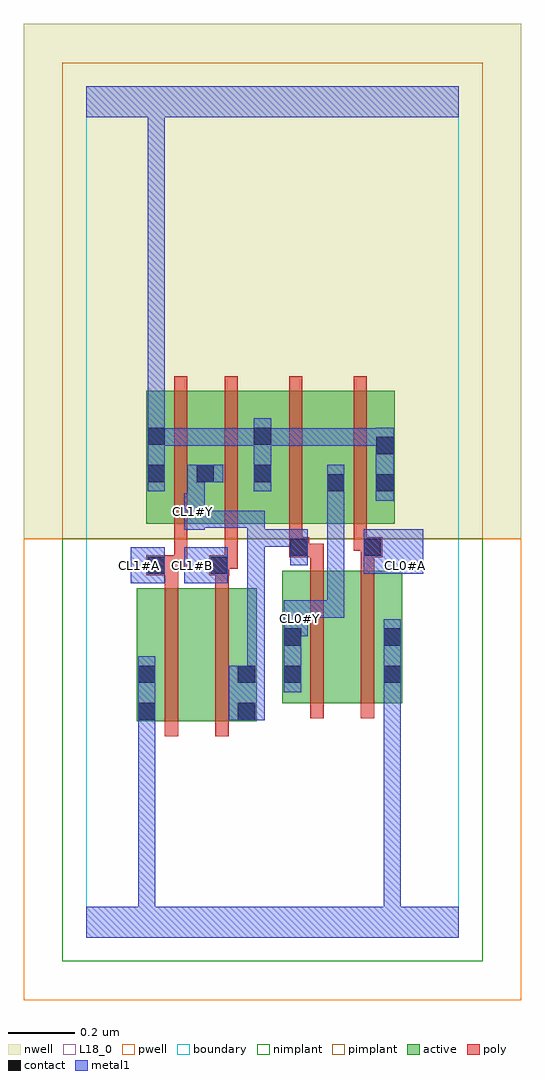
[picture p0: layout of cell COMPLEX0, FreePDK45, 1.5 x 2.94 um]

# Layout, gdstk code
import gdstk
lib = gdstk.Library(unit=1e-6, precision=1e-09)
def R(c, l, rs):  # rectangles x0, y0, x1, y1
    for r in rs: c.add(gdstk.rectangle(r[:2], r[2:], *l))
def A(c, l, x, y, w, h, nx, ny, dx, dy):  # array of equal rectangles
    R(c, l, [(x+i*dx, y+j*dy, x+i*dx+w, y+j*dy+h) for i in range(nx) for j in range(ny)])
active = (1, 0)
pwell = (2, 0)
nwell = (3, 0)
nimplant = (4, 0)
pimplant = (5, 0)
poly = (9, 0)
contact = (10, 0)
metal1 = (11, 0)
L18_0 = (18, 0)
boundary = (235, 0)

complex0 = lib.new_cell('COMPLEX0')
R(complex0, active, [(0.152,0.65,0.212,1.05), (0.152,0.65,0.332,1.05), (0.332,0.65,0.512,1.05), (0.452,0.65,0.512,1.05), (0.59,0.704,0.65,1.104), (0.59,0.704,0.77,1.104), (0.77,0.704,0.95,1.104), (0.89,0.704,0.95,1.104), (0.18,1.244,0.24,1.644), (0.18,1.244,0.388,1.644), (0.328,1.244,0.56,1.644), (0.5,1.244,0.78,1.644), (0.72,1.244,0.928,1.644), (0.868,1.244,0.928,1.644), (0.328,1.338,0.388,1.644), (0.72,1.338,0.78,1.644), (0.5,1.366,0.56,1.644)])
R(complex0, pwell, [(-0.188,-0.188,1.308,1.2)])
R(complex0, nwell, [(-0.188,1.2,1.308,2.748)])
R(complex0, nimplant, [(-0.072,-0.072,1.192,1.2)])
R(complex0, pimplant, [(-0.072,1.2,1.192,2.632)])
A(complex0, poly, 0.416, 1.2, 0.04, 0.488, 3, 1, 0.194, 0)
R(complex0, poly, [(0.236,0.606,0.276,1.094), (0.388,0.606,0.428,1.094), (0.674,0.66,0.714,1.148), (0.826,0.66,0.866,1.148), (0.236,1.054,0.276,1.13), (0.388,1.054,0.428,1.13), (0.18,1.09,0.276,1.15), (0.37,1.09,0.43,1.15), (0.674,1.108,0.714,1.184), (0.826,1.108,0.866,1.184), (0.236,1.11,0.276,1.15), (0.236,1.11,0.304,1.15), (0.264,1.11,0.304,1.24), (0.39,1.11,0.43,1.15), (0.39,1.11,0.456,1.15), (0.416,1.11,0.456,1.24), (0.61,1.144,0.67,1.204), (0.63,1.144,0.67,1.184), (0.63,1.144,0.714,1.184), (0.826,1.144,0.89,1.204), (0.61,1.164,0.65,1.24), (0.804,1.164,0.844,1.24), (0.804,1.164,0.866,1.204), (0.826,1.164,0.866,1.204), (0.264,1.2,0.304,1.688)])
R(complex0, contact, [(0.156,0.654,0.208,0.706), (0.456,0.654,0.508,0.706), (0.156,0.766,0.208,0.818), (0.456,0.766,0.508,0.818), (0.594,0.766,0.646,0.818), (0.894,0.766,0.946,0.818), (0.594,0.878,0.646,0.93), (0.894,0.878,0.946,0.93), (0.184,1.094,0.236,1.146), (0.374,1.094,0.426,1.146), (0.614,1.148,0.666,1.2), (0.834,1.148,0.886,1.2), (0.724,1.342,0.776,1.394), (0.872,1.342,0.924,1.394), (0.184,1.37,0.236,1.422), (0.332,1.37,0.384,1.422), (0.504,1.37,0.556,1.422), (0.872,1.454,0.924,1.506), (0.184,1.482,0.236,1.534), (0.504,1.482,0.556,1.534)])
R(complex0, metal1, [(0,0,1.12,0.092), (0.156,0.04,0.208,0.092), (0.156,0.04,0.208,0.092), (0.156,0.04,0.208,0.092), (0.156,0.04,0.208,0.092), (0.156,0.04,0.208,0.092), (0.156,0.04,0.208,0.092), (0.156,0.04,0.208,0.092), (0.156,0.04,0.208,0.092), (0.156,0.04,0.208,0.092), (0.156,0.04,0.208,0.092), (0.156,0.04,0.208,0.092), (0.156,0.04,0.208,0.092), (0.156,0.04,0.208,0.678), (0.894,0.04,0.946,0.092), (0.894,0.04,0.946,0.092), (0.894,0.04,0.946,0.092), (0.894,0.04,0.946,0.092), (0.894,0.04,0.946,0.092), (0.894,0.04,0.946,0.092), (0.894,0.04,0.946,0.092), (0.894,0.04,0.946,0.092), (0.894,0.04,0.946,0.092), (0.894,0.04,0.946,0.092), (0.894,0.04,0.946,0.79), (0.156,0.626,0.208,0.846), (0.428,0.654,0.536,0.818), (0.594,0.738,0.646,0.958), (0.894,0.738,0.946,0.79), (0.894,0.738,0.946,0.79), (0.894,0.738,0.946,0.958), (0.484,0.766,0.536,1.228), (0.594,0.906,0.646,0.958), (0.594,0.906,0.666,1.014), (0.614,0.962,0.666,1.014), (0.614,0.962,0.666,1.014), (0.614,0.962,0.776,1.014), (0.724,0.962,0.776,1.014), (0.724,0.962,0.776,1.014), (0.724,0.962,0.776,1.014), (0.724,0.962,0.776,1.366), (0.134,1.066,0.236,1.174), (0.294,1.066,0.426,1.174), (0.834,1.094,1.014,1.228), (0.614,1.12,0.666,1.228), (0.484,1.176,0.536,1.228), (0.484,1.176,0.536,1.228), (0.484,1.176,0.536,1.284), (0.484,1.176,0.666,1.228), (0.614,1.176,0.666,1.228), (0.614,1.176,0.666,1.228), (0.294,1.226,0.356,1.336), (0.304,1.232,0.356,1.284), (0.304,1.232,0.356,1.284), (0.304,1.232,0.536,1.284), (0.304,1.284,0.356,1.422), (0.724,1.314,0.776,1.422), (0.87,1.314,0.924,1.534), (0.184,1.342,0.236,1.562), (0.504,1.342,0.556,1.562), (0.304,1.37,0.412,1.422), (0.184,1.48,0.236,1.532), (0.184,1.48,0.236,1.532), (0.184,1.48,0.37,1.532), (0.318,1.48,0.37,1.532), (0.318,1.48,0.37,1.532), (0.318,1.48,0.37,1.532), (0.318,1.48,0.556,1.532), (0.504,1.48,0.556,1.532), (0.504,1.48,0.556,1.532), (0.504,1.48,0.776,1.532), (0.724,1.48,0.776,1.532), (0.724,1.48,0.776,1.532), (0.724,1.48,0.776,1.532), (0.724,1.48,0.922,1.532), (0.87,1.48,0.922,1.532), (0.87,1.48,0.922,1.532), (0.184,1.51,0.236,1.562), (0.184,1.51,0.236,1.562), (0.184,1.51,0.236,2.52), (0,2.468,1.12,2.56), (0.184,2.468,0.236,2.52), (0.184,2.468,0.236,2.52), (0.184,2.468,0.236,2.52), (0.184,2.468,0.236,2.52), (0.184,2.468,0.236,2.52), (0.184,2.468,0.236,2.52), (0.184,2.468,0.236,2.52), (0.184,2.468,0.236,2.52), (0.184,2.468,0.236,2.52), (0.184,2.468,0.236,2.52), (0.184,2.468,0.236,2.52), (0.184,2.468,0.236,2.52), (0.184,2.468,0.236,2.52), (0.184,2.468,0.236,2.52)])
R(complex0, L18_0, [(0,0,1.12,0.092), (0.156,0.04,0.208,0.092), (0.156,0.04,0.208,0.092), (0.156,0.04,0.208,0.092), (0.156,0.04,0.208,0.092), (0.156,0.04,0.208,0.092), (0.156,0.04,0.208,0.092), (0.156,0.04,0.208,0.092), (0.156,0.04,0.208,0.092), (0.156,0.04,0.208,0.092), (0.156,0.04,0.208,0.092), (0.156,0.04,0.208,0.092), (0.156,0.04,0.208,0.092), (0.156,0.04,0.208,0.678), (0.894,0.04,0.946,0.092), (0.894,0.04,0.946,0.092), (0.894,0.04,0.946,0.092), (0.894,0.04,0.946,0.092), (0.894,0.04,0.946,0.092), (0.894,0.04,0.946,0.092), (0.894,0.04,0.946,0.092), (0.894,0.04,0.946,0.092), (0.894,0.04,0.946,0.092), (0.894,0.04,0.946,0.092), (0.894,0.04,0.946,0.79), (0.156,0.626,0.208,0.846), (0.428,0.654,0.536,0.818), (0.594,0.738,0.646,0.958), (0.894,0.738,0.946,0.79), (0.894,0.738,0.946,0.79), (0.894,0.738,0.946,0.958), (0.484,0.766,0.536,1.228), (0.594,0.906,0.646,0.958), (0.594,0.906,0.666,1.014), (0.614,0.934,0.666,0.986), (0.614,0.962,0.666,1.014), (0.614,0.962,0.666,1.014), (0.614,0.962,0.776,1.014), (0.724,0.962,0.776,1.014), (0.724,0.962,0.776,1.014), (0.724,0.962,0.776,1.014), (0.724,0.962,0.776,1.366), (0.134,1.066,0.236,1.174), (0.294,1.066,0.426,1.174), (0.134,1.094,0.186,1.146), (0.294,1.094,0.346,1.146), (0.834,1.094,1.014,1.228), (0.934,1.094,0.986,1.146), (0.614,1.12,0.666,1.228), (0.484,1.176,0.536,1.228), (0.484,1.176,0.536,1.228), (0.484,1.176,0.536,1.284), (0.484,1.176,0.666,1.228), (0.614,1.176,0.666,1.228), (0.614,1.176,0.666,1.228), (0.294,1.226,0.356,1.336), (0.304,1.232,0.356,1.284), (0.304,1.232,0.356,1.284), (0.304,1.232,0.536,1.284), (0.294,1.254,0.346,1.306), (0.304,1.284,0.356,1.422), (0.724,1.314,0.776,1.422), (0.87,1.314,0.924,1.534), (0.184,1.342,0.236,1.562), (0.504,1.342,0.556,1.562), (0.304,1.37,0.412,1.422), (0.184,1.48,0.236,1.532), (0.184,1.48,0.236,1.532), (0.184,1.48,0.37,1.532), (0.318,1.48,0.37,1.532), (0.318,1.48,0.37,1.532), (0.318,1.48,0.37,1.532), (0.318,1.48,0.556,1.532), (0.504,1.48,0.556,1.532), (0.504,1.48,0.556,1.532), (0.504,1.48,0.776,1.532), (0.724,1.48,0.776,1.532), (0.724,1.48,0.776,1.532), (0.724,1.48,0.776,1.532), (0.724,1.48,0.922,1.532), (0.87,1.48,0.922,1.532), (0.87,1.48,0.922,1.532), (0.184,1.51,0.236,1.562), (0.184,1.51,0.236,1.562), (0.184,1.51,0.236,2.52), (0,2.468,1.12,2.56), (0.184,2.468,0.236,2.52), (0.184,2.468,0.236,2.52), (0.184,2.468,0.236,2.52), (0.184,2.468,0.236,2.52), (0.184,2.468,0.236,2.52), (0.184,2.468,0.236,2.52), (0.184,2.468,0.236,2.52), (0.184,2.468,0.236,2.52), (0.184,2.468,0.236,2.52), (0.184,2.468,0.236,2.52), (0.184,2.468,0.236,2.52), (0.184,2.468,0.236,2.52), (0.184,2.468,0.236,2.52), (0.184,2.468,0.236,2.52)])
R(complex0, boundary, [(0,0,1.12,2.56)])
complex0.add(gdstk.Label('CL0#A', (0.96,1.12), layer=11, texttype=0))
complex0.add(gdstk.Label('CL0#Y', (0.64,0.96), layer=11, texttype=0))
complex0.add(gdstk.Label('CL1#A', (0.16,1.12), layer=11, texttype=0))
complex0.add(gdstk.Label('CL1#B', (0.32,1.12), layer=11, texttype=0))
complex0.add(gdstk.Label('CL1#Y', (0.32,1.28), layer=11, texttype=0))

lib.write_gds('COMPLEX0.gds')
